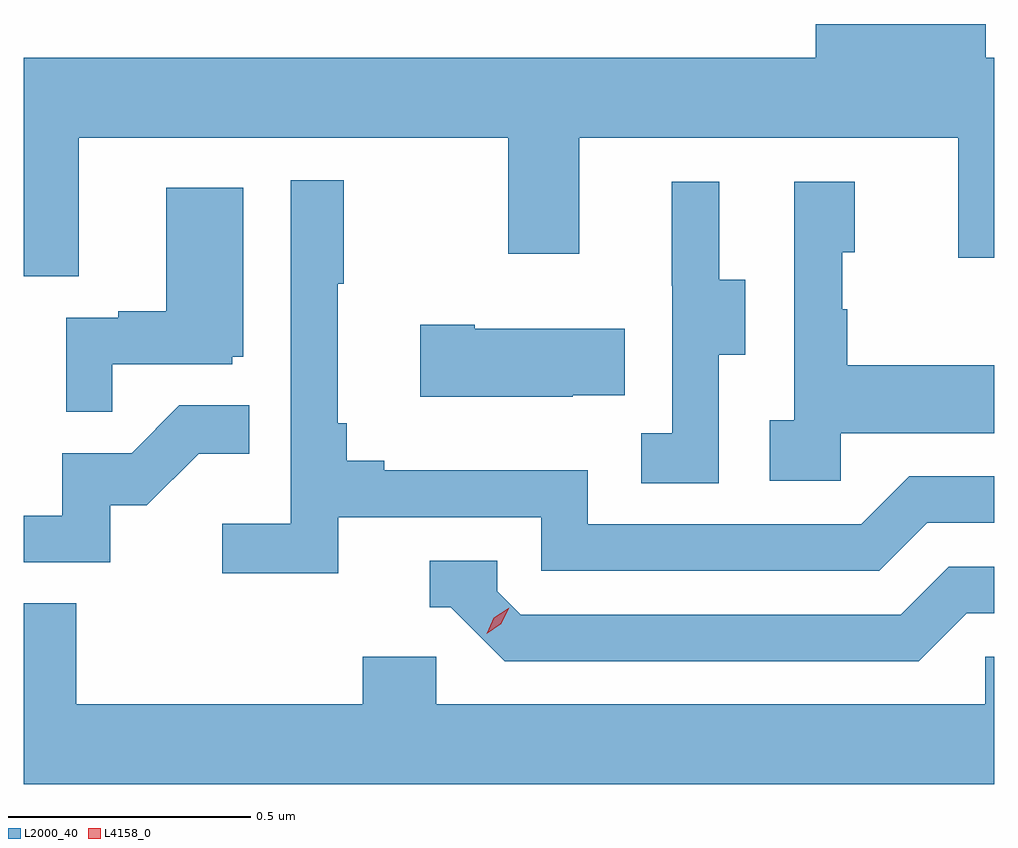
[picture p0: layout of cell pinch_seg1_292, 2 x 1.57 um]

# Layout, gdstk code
import gdstk
lib = gdstk.Library(unit=1e-6, precision=1e-09)
def P(c, l, *ps):  # polygons
    for p in ps: c.add(gdstk.Polygon(p, *l))
L2000_40 = (2000, 40)
L4158_0 = (4158, 0)

pinch_seg1_292 = lib.new_cell('pinch_seg1_292')
P(pinch_seg1_292, L2000_40, [(898.873,545.072),(899.758,545.072),(899.758,544.833),(899.905,544.833),(899.905,545.072),(900.686,545.072),(900.686,544.824),(900.76,544.824),(900.76,545.236),(900.742,545.236),(900.742,545.306),(900.392,545.306),(900.392,545.236),(898.76,545.236),(898.76,544.786),(898.873,544.786)],
  [(899.408,544.29),(899.826,544.29),(899.826,544.179),(900.523,544.179),(900.622,544.278),(900.76,544.278),(900.76,544.374),(900.585,544.374),(900.486,544.275),(899.922,544.275),(899.922,544.387),(899.503,544.387),(899.503,544.406),(899.426,544.406),(899.426,544.483),(899.407,544.483),(899.407,544.771),(899.419,544.771),(899.419,544.984),(899.31,544.984),(899.31,544.276),(899.169,544.276),(899.169,544.174),(899.408,544.174)],
  [(900.444,544.463),(900.76,544.463),(900.76,544.603),(900.457,544.603),(900.457,544.718),(900.447,544.718),(900.447,544.836),(900.472,544.836),(900.472,544.981),(900.348,544.981),(900.348,544.49),(900.297,544.49),(900.297,544.365),(900.444,544.365)],
  [(900.192,544.624),(900.247,544.624),(900.247,544.779),(900.193,544.779),(900.193,544.981),(900.095,544.981),(900.095,544.767),(900.096,544.767),(900.096,544.463),(900.033,544.463),(900.033,544.36),(900.192,544.36)],
  [(898.943,544.605),(899.19,544.605),(899.19,544.62),(899.212,544.62),(899.212,544.969),(899.054,544.969),(899.054,544.714),(898.955,544.714),(898.955,544.701),(898.848,544.701),(898.848,544.507),(898.943,544.507)],
  [(899.891,544.541),(899.999,544.541),(899.999,544.678),(899.689,544.678),(899.689,544.686),(899.577,544.686),(899.577,544.538),(899.891,544.538)],
  [(898.938,544.314),(899.014,544.314),(899.121,544.421),(899.225,544.421),(899.225,544.52),(899.081,544.52),(898.983,544.422),(898.839,544.422),(898.839,544.293),(898.76,544.293),(898.76,544.197),(898.938,544.197)],
  [(900.703,544.092),(900.76,544.092),(900.76,544.188),(900.666,544.188),(900.567,544.089),(899.784,544.089),(899.736,544.137),(899.736,544.2),(899.597,544.2),(899.597,544.104),(899.64,544.104),(899.751,543.993),(900.604,543.993)],
  [(900.76,544.002),(900.741,544.002),(900.741,543.904),(899.61,543.904),(899.61,544.002),(899.459,544.002),(899.459,543.904),(898.868,543.904),(898.868,544.112),(898.76,544.112),(898.76,543.74),(900.76,543.74)])
P(pinch_seg1_292, L4158_0, [(899.714,544.05),(899.714,544.05),(899.729,544.083),(899.76,544.103),(899.76,544.103),(899.76,544.103),(899.744,544.07),(899.714,544.05)])

lib.write_gds('pinch_seg1_292.gds')
